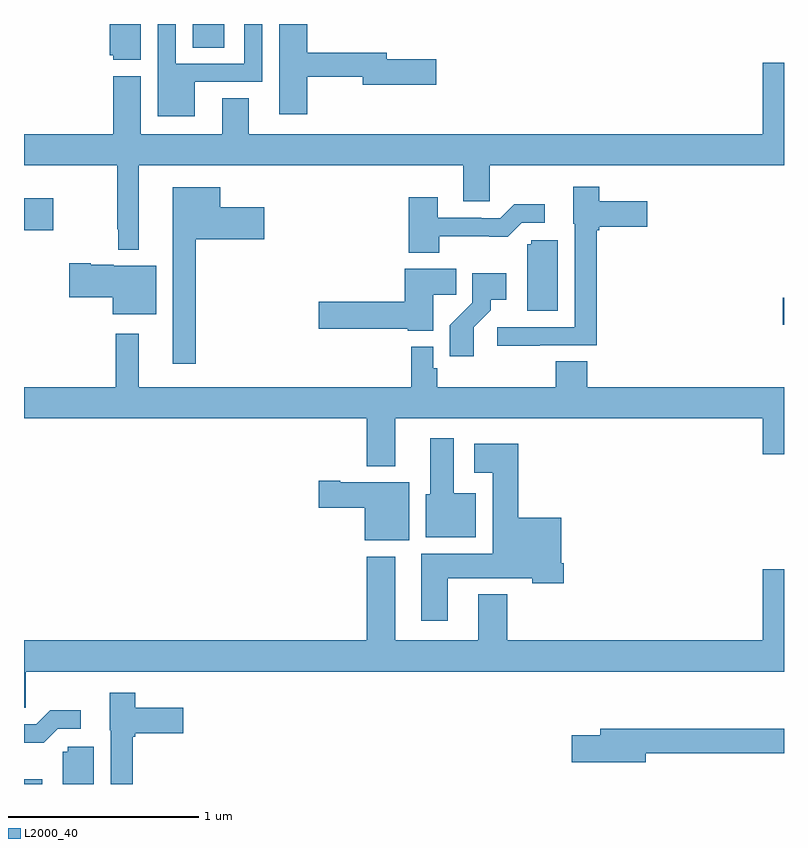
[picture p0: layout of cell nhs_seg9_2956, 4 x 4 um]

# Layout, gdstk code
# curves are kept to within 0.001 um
import gdstk
lib = gdstk.Library(unit=1e-6, precision=1e-09)
def R(c, l, rs):  # rectangles x0, y0, x1, y1
    for r in rs: c.add(gdstk.rectangle(r[:2], r[2:], *l))
def P(c, l, *ps):  # polygons
    for p in ps: c.add(gdstk.Polygon(p, *l))
L2000_40 = (2000, 40)

nhs_seg9_2956 = lib.new_cell('nhs_seg9_2956')
R(nhs_seg9_2956, L2000_40, [(281,1190.5,281.095,1190.524), (284.994,1192.918,285,1193.06), (281,1193.414,281.155,1193.584), (281.888,1194.376,282.055,1194.5)])
P(nhs_seg9_2956, L2000_40, [(281.899,1194.195),(282.255,1194.195),(282.255,1194.5),(282.159,1194.5),(282.159,1194.291),(281.799,1194.291),(281.799,1194.5),(281.703,1194.5),(281.703,1194.014),(281.899,1194.014)],
  [(282.491,1194.222),(282.782,1194.222),(282.782,1194.179),(283.171,1194.179),(283.171,1194.314),(282.91,1194.314),(282.91,1194.35),(282.491,1194.35),(282.491,1194.5),(282.344,1194.5),(282.344,1194.024),(282.491,1194.024)],
  [(281.614,1194.5),(281.45,1194.5),(281.45,1194.336),(281.469,1194.336),(281.469,1194.311),(281.614,1194.311)],
  [(281.605,1193.756),(283.313,1193.756),(283.313,1193.566),(283.452,1193.566),(283.452,1193.756),(285,1193.756),(285,1194.295),(284.888,1194.295),(284.888,1193.92),(282.184,1193.92),(282.184,1194.11),(282.044,1194.11),(282.044,1193.92),(281.614,1193.92),(281.614,1194.226),(281.471,1194.226),(281.471,1193.92),(281,1193.92),(281,1193.756),(281.491,1193.756),(281.491,1193.419),(281.495,1193.419),(281.495,1193.312),(281.605,1193.312)],
  [(283.715,1192.809),(284.015,1192.809),(284.015,1193.414),(284.028,1193.414),(284.028,1193.432),(284.281,1193.432),(284.281,1193.566),(284.028,1193.566),(284.028,1193.644),(283.892,1193.644),(283.892,1193.448),(283.899,1193.448),(283.899,1192.905),(283.491,1192.905),(283.491,1192.807),(283.715,1192.807)],
  [(281.905,1193.366),(282.265,1193.366),(282.265,1193.536),(282.034,1193.536),(282.034,1193.641),(281.783,1193.641),(281.783,1192.713),(281.905,1192.713)],
  [(283.185,1193.382),(283.547,1193.381),(283.62,1193.454),(283.741,1193.454),(283.741,1193.551),(283.579,1193.551),(283.506,1193.478),(283.406,1193.478),(283.406,1193.481),(283.177,1193.481),(283.177,1193.587),(283.025,1193.587),(283.025,1193.297),(283.185,1193.297)],
  [(283.81,1193.361),(283.671,1193.361),(283.671,1193.34),(283.649,1193.34),(283.649,1192.992),(283.81,1192.992)],
  [(281.695,1193.227),(281.472,1193.227),(281.472,1193.234),(281.35,1193.234),(281.35,1193.24),(281.238,1193.24),(281.238,1193.062),(281.468,1193.062),(281.468,1192.973),(281.695,1192.973)],
  [(283.153,1193.074),(283.274,1193.074),(283.274,1193.212),(283.004,1193.212),(283.004,1193.039),(282.552,1193.039),(282.552,1192.897),(283.02,1192.897),(283.02,1192.886),(283.153,1192.886)],
  [(283.366,1192.903),(283.456,1192.993),(283.456,1193.048),(283.537,1193.048),(283.537,1193.188),(283.359,1193.188),(283.359,1193.033),(283.24,1192.914),(283.24,1192.752),(283.366,1192.752)],
  [(282.955,1192.424),(284.888,1192.424),(284.888,1192.236),(285,1192.236),(285,1192.588),(283.964,1192.588),(283.964,1192.724),(283.799,1192.724),(283.799,1192.588),(283.175,1192.588),(283.175,1192.689),(283.155,1192.689),(283.155,1192.801),(283.039,1192.801),(283.039,1192.588),(281.605,1192.588),(281.605,1192.87),(281.484,1192.87),(281.484,1192.588),(281,1192.588),(281,1192.424),(282.803,1192.424),(282.803,1192.172),(282.955,1192.172)],
  [(283.378,1192.03),(283.261,1192.03),(283.261,1192.321),(283.139,1192.321),(283.139,1192.026),(283.115,1192.026),(283.115,1191.8),(283.378,1191.8)],
  [(283.231,1191.584),(283.674,1191.584),(283.674,1191.557),(283.841,1191.557),(283.841,1191.661),(283.828,1191.661),(283.828,1191.901),(283.601,1191.901),(283.601,1192.291),(283.371,1192.291),(283.371,1192.139),(283.466,1192.139),(283.466,1191.712),(283.091,1191.712),(283.091,1191.36),(283.231,1191.36)],
  [(283.027,1192.087),(282.664,1192.087),(282.664,1192.095),(282.552,1192.095),(282.552,1191.953),(282.794,1191.953),(282.794,1191.782),(283.027,1191.782)],
  [(281.01,1191.092),(285,1191.092),(285,1191.631),(284.888,1191.631),(284.888,1191.256),(283.544,1191.256),(283.544,1191.499),(283.391,1191.499),(283.391,1191.256),(282.955,1191.256),(282.955,1191.697),(282.803,1191.697),(282.803,1191.256),(281,1191.256),(281,1190.902),(281.01,1190.902)],
  [(281.573,1190.75),(281.586,1190.75),(281.586,1190.768),(281.839,1190.768),(281.839,1190.902),(281.586,1190.902),(281.586,1190.98),(281.45,1190.98),(281.45,1190.784),(281.457,1190.784),(281.457,1190.5),(281.573,1190.5)],
  [(281.178,1190.79),(281.299,1190.79),(281.299,1190.887),(281.137,1190.887),(281.064,1190.814),(281,1190.814),(281,1190.718),(281.006,1190.718),(281.006,1190.717),(281.105,1190.717)],
  [(284.272,1190.662),(285,1190.662),(285,1190.791),(284.033,1190.791),(284.033,1190.757),(283.884,1190.757),(283.884,1190.615),(284.272,1190.615)],
  [(281.368,1190.697),(281.229,1190.697),(281.229,1190.67),(281.204,1190.67),(281.204,1190.5),(281.368,1190.5)])

lib.write_gds('nhs_seg9_2956.gds')
